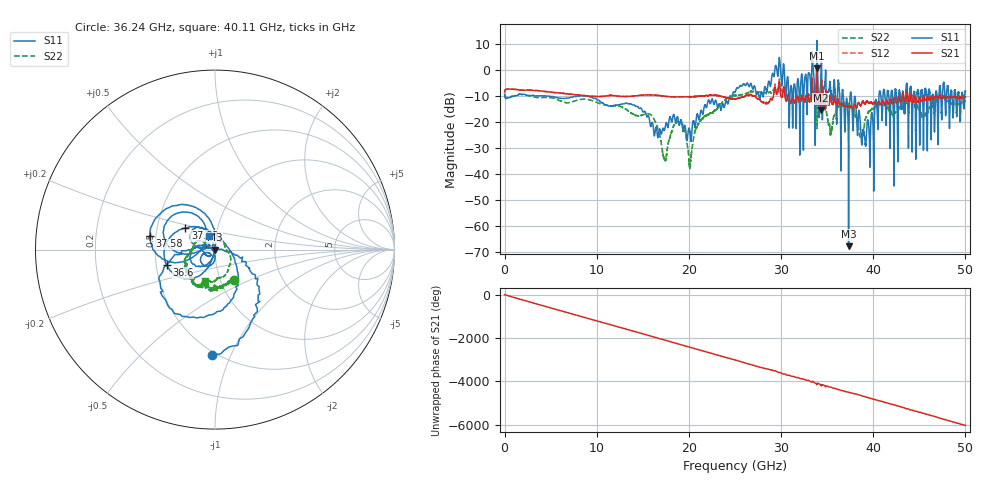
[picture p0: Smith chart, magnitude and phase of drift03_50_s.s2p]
!Created with skrf (http://scikit-rf.org).
# Hz S RI R 50.0
!freq ReS11 ImS11 ReS21 ImS21 ReS12 ImS12 ReS22 ImS22
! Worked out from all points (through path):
!   10001 points, 300 kHz to 50 GHz, reference 50 ohm
!   highest |S21| = 0.65 dB at 33.9 GHz (marker M1); lowest = -15.5 dB at 34.32 GHz (marker M2)
!   group delay of S21, straight-line fit = 335 ps
!   lowest |S11| = -67.9 dB at 37.33 GHz (marker M3), VSWR 1.00, Z = 50 + j0.0219 ohm
!   |S11| at or under -10 dB: 4.473 GHz to 7.969 GHz (3.496 GHz wide, 56.2 % of centre); 9.018 GHz to 24.7 GHz (15.68 GHz wide, 93 % of centre); 37.62 GHz to 40.62 GHz (3.003 GHz wide, 7.68 % of centre) (the widest 3 of 61)
!   |S22| runs from -38.3 to -5.9 dB; largest |S21 - S12| = 0.11
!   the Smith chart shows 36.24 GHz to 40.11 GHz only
!   S11 on the Smith chart (normalised r, x): 36.24 GHz: 0.47, -0.85; 36.6 GHz: 0.57, -0.11; 37.03 GHz: 0.70, +0.18; 37.58 GHz: 0.46, +0.08; 40.11 GHz: 0.93, +0.15
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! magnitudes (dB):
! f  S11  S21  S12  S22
! 300 kHz  -9.4  -8.4  -8.5  -9.3
! 8.335 GHz  -9.9  -9.8  -9.8  -11.3
! 16.67 GHz  -25.5  -9.8  -9.8  -23.2
! 17.39 GHz  -22.7  -10.1  -10.1  -34.8
! 19.07 GHz  -19.8  -10.3  -10.3  -20.1
! 20.13 GHz  -24.6  -10.3  -10.3  -36.5
! 21.22 GHz  -17.0  -10.1  -10.1  -19.6
! 25 GHz  -8.6  -11.1  -11.1  -9.9
! 31.08 GHz  -6.1  -12.7  -12.7  -10.5
! 33.34 GHz  0.6  -7.4  -7.5  -9.4
! 33.9 GHz  11.4  0.7  0.3  -22.6
! 34.32 GHz  -2.9  -15.5  -14.9  -11.2
! 35.35 GHz  -6.7  -10.5  -10.1  -23.9
! 36.24 GHz  -4.6  -11.8  -11.7  -14.0
! 36.6 GHz  -11.0  -13.0  -13.0  -13.3
! 37.03 GHz  -13.8  -13.7  -14.0  -13.2
! 37.33 GHz  -67.9  -14.4  -14.5  -13.8
! 37.58 GHz  -8.6  -13.9  -13.9  -14.1
! 38.71 GHz  -26.5  -13.4  -13.3  -25.3
! 40.11 GHz  -21.5  -12.6  -12.6  -14.8
! 41.67 GHz  -9.5  -13.2  -13.2  -14.8
! 50 GHz  -8.0  -10.4  -10.6  -12.1
